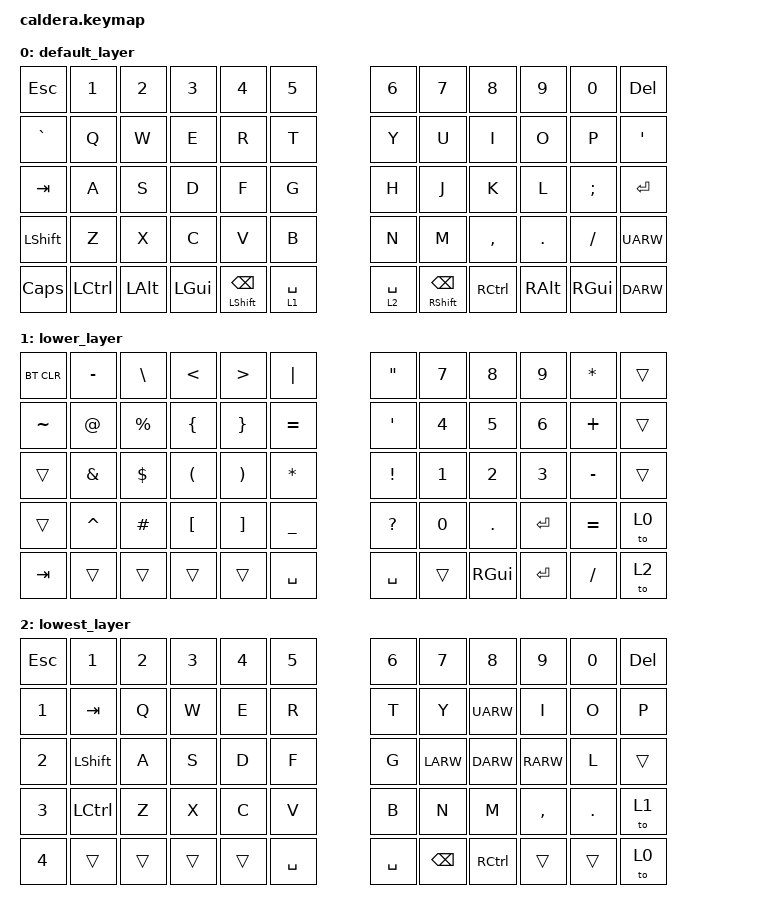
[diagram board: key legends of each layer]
#include <behaviors.dtsi>
#include <dt-bindings/zmk/keys.h>
#include <dt-bindings/zmk/bt.h>

&mt {
    tapping-term-ms = <400>;
};
/ {
        keymap {
                compatible = "zmk,keymap";

                default_layer {
// --------------------------------------------------------------------------------------------------------------------------
// |  ESC  |   1   |   2   |   3   |   4   |    5  |                             |    6  |   7   |   8   |   9   |   0   |  DEL  |
// |   `   |   Q   |   W   |   E   |   R   |    T  |                             |    Y  |   U   |   I   |   O   |   P   |   '   |
// |  TAB  |   A   |   S   |   D   |   F   |    G  |                             |    H  |   J   |   K   |   L   |   ;   |  ENT  |
// |  SHFT |   Z   |   X   |   C   |   V   |    B  |                             |    N  |   M   |   ,   |   .   |   /   |  UARW |
// |  CAPS |  CTRL |  ALT  |  WIN  |SHF/BKP| L1/SPC|                             | L2/SPC|SHF/BKP|  CTRL |  ALT  |  WIN  |  DARW |
                        bindings = <
   &kp ESC    &kp N1     &kp N2    &kp N3    &kp N4          &kp N5               &kp N6       &kp N7          &kp N8     &kp N9    &kp N0    &kp DEL
   &kp GRAVE  &kp Q      &kp W     &kp E     &kp R           &kp T                &kp Y        &kp U           &kp I      &kp O     &kp P     &kp APOS
   &kp TAB    &kp A      &kp S     &kp D     &kp F           &kp G                &kp H        &kp J           &kp K      &kp L     &kp SEMI  &kp RET
   &kp LSHFT  &kp Z      &kp X     &kp C     &kp V           &kp B                &kp N        &kp M           &kp COMMA  &kp DOT   &kp FSLH  &kp UARW
   &kp CAPS   &kp LCTRL  &kp LALT  &kp LGUI  &mt LSHFT BSPC  &lt 1 SPACE          &lt 2 SPACE  &mt RSHFT BSPC  &kp RCTRL  &kp RALT  &kp RGUI  &kp DARW
                        >;
                };
                lower_layer {
// --------------------------------------------------------------------------------------------------------------------------
// | BTCLR |   -   |   \   |   <   |   >   |   |   |                        |   "   |   7   |   8   |   9   |   *   |  DEL  |
// |   ~   |   @   |   %   |   {   |   }   |   =   |                        |   '   |   4   |   5   |   6   |   +   |       |
// |  TAB  |   &   |   $   |   (   |   )   |   *   |                        |   !   |   1   |   2   |   3   |   -   |       |
// |  SHFT |   ^   |   #   |   [   |   ]   |   _   |                        |   ?   |   0   |   .   |  ENT  |   =   |   L0  |
// |   1   |       |       |       |  SHFT |  SPC  |                        |  SPC  |  BKSP |   WIN |  ENT  |   /   |   L2  |
                        bindings = <
   &bt BT_CLR  &kp MINUS  &kp BSLH   &kp LT    &kp GT    &kp PIPE            &kp DQT    &kp N7  &kp N8    &kp N9   &kp STAR   &trans
   &kp TILDE   &kp AT     &kp PRCNT  &kp LBRC  &kp RBRC  &kp EQUAL           &kp SQT    &kp N4  &kp N5    &kp N6   &kp PLUS   &trans
   &trans      &kp AMPS   &kp DLLR   &kp LPAR  &kp RPAR  &kp STAR            &kp EXCL   &kp N1  &kp N2    &kp N3   &kp MINUS  &trans
   &trans      &kp CARET  &kp HASH   &kp LBKT  &kp RBKT  &kp UNDER           &kp QMARK  &kp N0  &kp DOT   &kp RET  &kp EQUAL  &to 0
   &kp TAB     &trans     &trans     &trans    &trans    &kp SPACE           &kp SPACE  &trans  &kp RGUI  &kp RET  &kp FSLH   &to 2
                        >;
                };
                lowest_layer {
// --------------------------------------------------------------------------------------------------------------------------
// |  ESC  |   1   |   2   |   3   |   4   |   5   |                        |   6   |   7   |   8   |   9   |   0   |  DEL  |
// |   1   |  TAB  |   Q   |   W   |   E   |   R   |                        |   T   |   Y   |   UP  |   I   |   O   |   P   |
// |   2   |  SFT  |   A   |   S   |   D   |   F   |                        |   G   |  LEFT |  DOWN | RIGHT |   L   |  ENT  |
// |   3   |  CTL  |   Z   |   X   |   C   |   V   |                        |   B   |   N   |   M   |   ,   |   .   |  L1   |
// |   4   |  CTL  |  ALT  |  WIN  |  SHFT |  SPC  |                        |  SPC  |  BKSP |  CTRL | LARW  |  RARW |  L0   |
                        bindings = <
   &kp ESC  &kp N1     &kp N2  &kp N3  &kp N4  &kp N5                       &kp N6     &kp N7    &kp N8     &kp N9     &kp N0   &kp DEL
   &kp N1   &kp TAB    &kp Q   &kp W   &kp E   &kp R                        &kp T      &kp Y     &kp UARW   &kp I      &kp O    &kp P
   &kp N2   &kp LSHFT  &kp A   &kp S   &kp D   &kp F                        &kp G      &kp LARW  &kp DARW   &kp RARW   &kp L    &trans
   &kp N3   &kp LCTRL  &kp Z   &kp X   &kp C   &kp V                        &kp B      &kp N     &kp M      &kp COMMA  &kp DOT  &to 1
   &kp N4   &trans     &trans  &trans  &trans  &kp SPACE                    &kp SPACE  &kp BSPC  &kp RCTRL  &trans     &trans   &to 0
                        >;
                };
        };
};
